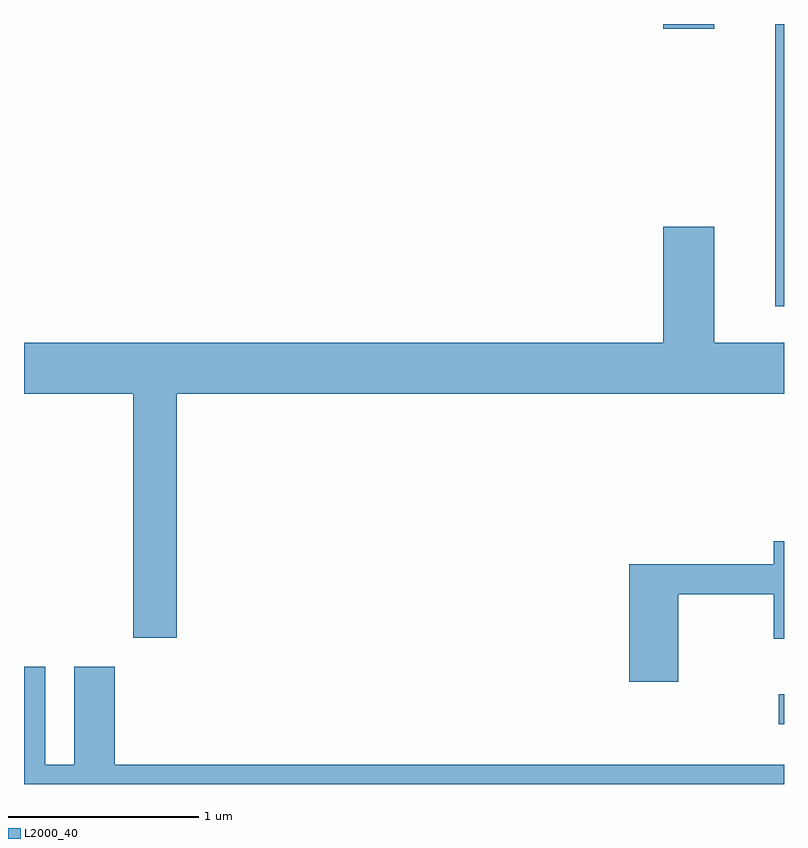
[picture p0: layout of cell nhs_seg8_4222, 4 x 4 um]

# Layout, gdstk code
import gdstk
lib = gdstk.Library(unit=1e-6, precision=1e-09)
def R(c, l, rs):  # rectangles x0, y0, x1, y1
    for r in rs: c.add(gdstk.rectangle(r[:2], r[2:], *l))
def P(c, l, *ps):  # polygons
    for p in ps: c.add(gdstk.Polygon(p, *l))
L2000_40 = (2000, 40)

nhs_seg8_4222 = lib.new_cell('nhs_seg8_4222')
R(nhs_seg8_4222, L2000_40, [(315.583,1854.656,315.611,1854.814), (315.566,1856.856,315.611,1858.342), (314.976,1858.316,315.244,1858.342)])
P(nhs_seg8_4222, L2000_40, [(312.414,1856.396),(315.611,1856.396),(315.611,1856.664),(315.244,1856.664),(315.244,1857.274),(314.976,1857.274),(314.976,1856.664),(311.611,1856.664),(311.611,1856.396),(312.186,1856.396),(312.186,1855.111),(312.414,1855.111)],
  [(315.054,1855.341),(315.556,1855.341),(315.556,1855.106),(315.611,1855.106),(315.611,1855.619),(315.556,1855.619),(315.556,1855.499),(314.796,1855.499),(314.796,1854.881),(315.054,1854.881)],
  [(315.611,1854.444),(312.089,1854.444),(312.089,1854.959),(311.876,1854.959),(311.876,1854.444),(311.724,1854.444),(311.724,1854.959),(311.611,1854.959),(311.611,1854.342),(315.611,1854.342)])

lib.write_gds('nhs_seg8_4222.gds')
